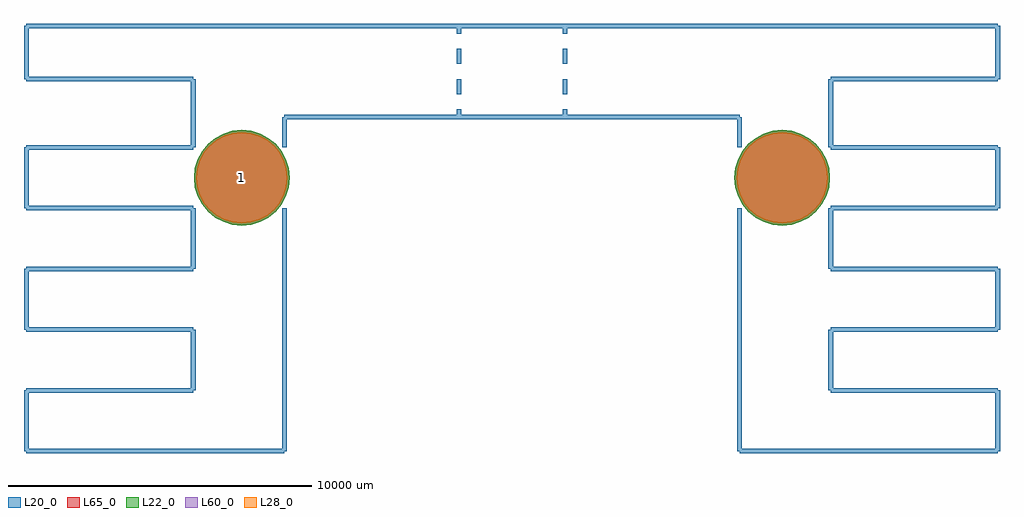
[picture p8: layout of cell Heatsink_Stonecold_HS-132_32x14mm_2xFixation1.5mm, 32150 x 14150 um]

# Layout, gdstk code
import gdstk
lib = gdstk.Library(unit=1e-6, precision=1e-09)
def P(c, l, *ps):  # polygons
    for p in ps: c.add(gdstk.Polygon(p, *l))
L20_0 = (20, 0)
L22_0 = (22, 0)
L28_0 = (28, 0)
L60_0 = (60, 0)
L65_0 = (65, 0)

heatsink_stonecold_hs_13 = lib.new_cell('Heatsink_Stonecold_HS-132_32x14mm_2xFixation1.5mm')
P(heatsink_stonecold_hs_13, L22_0, [(10475,0),(10444.737,307.267),(10355.11,602.726),(10209.565,875.023),(10013.693,1113.693),(9775.023,1309.565),(9502.726,1455.11),(9207.267,1544.737),(8900,1575),(8592.733,1544.737),(8297.274,1455.11),(8024.977,1309.565),(7786.307,1113.693),(7590.435,875.023),(7444.89,602.726),(7355.263,307.267),(7325,0),(7355.263,-307.267),(7444.89,-602.726),(7590.435,-875.023),(7786.307,-1113.693),(8024.977,-1309.565),(8297.274,-1455.11),(8592.733,-1544.737),(8900,-1575),(9207.267,-1544.737),(9502.726,-1455.11),(9775.023,-1309.565),(10013.693,-1113.693),(10209.565,-875.023),(10355.11,-602.726),(10444.737,-307.267)],
  [(-7325,0),(-7355.263,307.267),(-7444.89,602.726),(-7590.435,875.023),(-7786.307,1113.693),(-8024.977,1309.565),(-8297.274,1455.11),(-8592.733,1544.737),(-8900,1575),(-9207.267,1544.737),(-9502.726,1455.11),(-9775.023,1309.565),(-10013.693,1113.693),(-10209.565,875.023),(-10355.11,602.726),(-10444.737,307.267),(-10475,0),(-10444.737,-307.267),(-10355.11,-602.726),(-10209.565,-875.023),(-10013.693,-1113.693),(-9775.023,-1309.565),(-9502.726,-1455.11),(-9207.267,-1544.737),(-8900,-1575),(-8592.733,-1544.737),(-8297.274,-1455.11),(-8024.977,-1309.565),(-7786.307,-1113.693),(-7590.435,-875.023),(-7444.89,-602.726),(-7355.263,-307.267)])
P(heatsink_stonecold_hs_13, L28_0, [(10400,0),(10371.178,292.635),(10285.819,574.025),(10147.204,833.355),(9960.66,1060.66),(9733.355,1247.204),(9474.025,1385.819),(9192.635,1471.178),(8900,1500),(8607.365,1471.178),(8325.975,1385.819),(8066.645,1247.204),(7839.34,1060.66),(7652.796,833.355),(7514.181,574.025),(7428.822,292.635),(7400,0),(7428.822,-292.635),(7514.181,-574.025),(7652.796,-833.355),(7839.34,-1060.66),(8066.645,-1247.204),(8325.975,-1385.819),(8607.365,-1471.178),(8900,-1500),(9192.635,-1471.178),(9474.025,-1385.819),(9733.355,-1247.204),(9960.66,-1060.66),(10147.204,-833.355),(10285.819,-574.025),(10371.178,-292.635)],
  [(-7400,0),(-7428.822,292.635),(-7514.181,574.025),(-7652.796,833.355),(-7839.34,1060.66),(-8066.645,1247.204),(-8325.975,1385.819),(-8607.365,1471.178),(-8900,1500),(-9192.635,1471.178),(-9474.025,1385.819),(-9733.355,1247.204),(-9960.66,1060.66),(-10147.204,833.355),(-10285.819,574.025),(-10371.178,292.635),(-10400,0),(-10371.178,-292.635),(-10285.819,-574.025),(-10147.204,-833.355),(-9960.66,-1060.66),(-9733.355,-1247.204),(-9474.025,-1385.819),(-9192.635,-1471.178),(-8900,-1500),(-8607.365,-1471.178),(-8325.975,-1385.819),(-8066.645,-1247.204),(-7839.34,-1060.66),(-7652.796,-833.355),(-7514.181,-574.025),(-7428.822,-292.635)])
P(heatsink_stonecold_hs_13, L60_0, [(10400,0),(10371.178,292.635),(10285.819,574.025),(10147.204,833.355),(9960.66,1060.66),(9733.355,1247.204),(9474.025,1385.819),(9192.635,1471.178),(8900,1500),(8607.365,1471.178),(8325.975,1385.819),(8066.645,1247.204),(7839.34,1060.66),(7652.796,833.355),(7514.181,574.025),(7428.822,292.635),(7400,0),(7428.822,-292.635),(7514.181,-574.025),(7652.796,-833.355),(7839.34,-1060.66),(8066.645,-1247.204),(8325.975,-1385.819),(8607.365,-1471.178),(8900,-1500),(9192.635,-1471.178),(9474.025,-1385.819),(9733.355,-1247.204),(9960.66,-1060.66),(10147.204,-833.355),(10285.819,-574.025),(10371.178,-292.635)],
  [(-7400,0),(-7428.822,292.635),(-7514.181,574.025),(-7652.796,833.355),(-7839.34,1060.66),(-8066.645,1247.204),(-8325.975,1385.819),(-8607.365,1471.178),(-8900,1500),(-9192.635,1471.178),(-9474.025,1385.819),(-9733.355,1247.204),(-9960.66,1060.66),(-10147.204,833.355),(-10285.819,574.025),(-10371.178,292.635),(-10400,0),(-10371.178,-292.635),(-10285.819,-574.025),(-10147.204,-833.355),(-9960.66,-1060.66),(-9733.355,-1247.204),(-9474.025,-1385.819),(-9192.635,-1471.178),(-8900,-1500),(-8607.365,-1471.178),(-8325.975,-1385.819),(-8066.645,-1247.204),(-7839.34,-1060.66),(-7652.796,-833.355),(-7514.181,-574.025),(-7428.822,-292.635)])
P(heatsink_stonecold_hs_13, L65_0, [(10475,0),(10444.737,307.267),(10355.11,602.726),(10209.565,875.023),(10013.693,1113.693),(9775.023,1309.565),(9502.726,1455.11),(9207.267,1544.737),(8900,1575),(8592.733,1544.737),(8297.274,1455.11),(8024.977,1309.565),(7786.307,1113.693),(7590.435,875.023),(7444.89,602.726),(7355.263,307.267),(7325,0),(7355.263,-307.267),(7444.89,-602.726),(7590.435,-875.023),(7786.307,-1113.693),(8024.977,-1309.565),(8297.274,-1455.11),(8592.733,-1544.737),(8900,-1575),(9207.267,-1544.737),(9502.726,-1455.11),(9775.023,-1309.565),(10013.693,-1113.693),(10209.565,-875.023),(10355.11,-602.726),(10444.737,-307.267)],
  [(-7325,0),(-7355.263,307.267),(-7444.89,602.726),(-7590.435,875.023),(-7786.307,1113.693),(-8024.977,1309.565),(-8297.274,1455.11),(-8592.733,1544.737),(-8900,1575),(-9207.267,1544.737),(-9502.726,1455.11),(-9775.023,1309.565),(-10013.693,1113.693),(-10209.565,875.023),(-10355.11,602.726),(-10444.737,307.267),(-10475,0),(-10444.737,-307.267),(-10355.11,-602.726),(-10209.565,-875.023),(-10013.693,-1113.693),(-9775.023,-1309.565),(-9502.726,-1455.11),(-9207.267,-1544.737),(-8900,-1575),(-8592.733,-1544.737),(-8297.274,-1455.11),(-8024.977,-1309.565),(-7786.307,-1113.693),(-7590.435,-875.023),(-7444.89,-602.726),(-7355.263,-307.267)])
heatsink_stonecold_hs_13.add(gdstk.FlexPath([(-16000,5000),(16000,5000)], 149.998, ends="flush", simple_path=True, layer=20, datatype=0))  # L20_0
heatsink_stonecold_hs_13.add(gdstk.FlexPath([(-7500,2000),(7500,2000)], 149.998, ends="flush", simple_path=True, layer=20, datatype=0))  # L20_0
heatsink_stonecold_hs_13.add(gdstk.FlexPath([(-7500,-9000),(-16000,-9000)], 149.998, ends="flush", simple_path=True, layer=20, datatype=0))  # L20_0
heatsink_stonecold_hs_13.add(gdstk.FlexPath([(7500,-9000),(16000,-9000)], 149.998, ends="flush", simple_path=True, layer=20, datatype=0))  # L20_0
heatsink_stonecold_hs_13.add(gdstk.FlexPath([(7500,2000),(7500,1000)], 149.998, ends="flush", simple_path=True, layer=20, datatype=0))  # L20_0
heatsink_stonecold_hs_13.add(gdstk.FlexPath([(-7500,2000),(-7500,1000)], 149.998, ends="flush", simple_path=True, layer=20, datatype=0))  # L20_0
heatsink_stonecold_hs_13.add(gdstk.FlexPath([(-7500,-1000),(-7500,-9000)], 149.998, ends="flush", simple_path=True, layer=20, datatype=0))  # L20_0
heatsink_stonecold_hs_13.add(gdstk.FlexPath([(7500,-1000),(7500,-9000)], 149.998, ends="flush", simple_path=True, layer=20, datatype=0))  # L20_0
heatsink_stonecold_hs_13.add(gdstk.FlexPath([(-10500,1000),(-16000,1000)], 149.998, ends="flush", simple_path=True, layer=20, datatype=0))  # L20_0
heatsink_stonecold_hs_13.add(gdstk.FlexPath([(-16000,-1000),(-10500,-1000)], 149.998, ends="flush", simple_path=True, layer=20, datatype=0))  # L20_0
heatsink_stonecold_hs_13.add(gdstk.FlexPath([(10500,1000),(16000,1000)], 149.998, ends="flush", simple_path=True, layer=20, datatype=0))  # L20_0
heatsink_stonecold_hs_13.add(gdstk.FlexPath([(10500,-1000),(16000,-1000)], 149.998, ends="flush", simple_path=True, layer=20, datatype=0))  # L20_0
heatsink_stonecold_hs_13.add(gdstk.FlexPath([(10500,3250),(16000,3250)], 149.998, ends="flush", simple_path=True, layer=20, datatype=0))  # L20_0
heatsink_stonecold_hs_13.add(gdstk.FlexPath([(10500,-7000),(16000,-7000)], 149.998, ends="flush", simple_path=True, layer=20, datatype=0))  # L20_0
heatsink_stonecold_hs_13.add(gdstk.FlexPath([(10500,-3000),(16000,-3000)], 149.998, ends="flush", simple_path=True, layer=20, datatype=0))  # L20_0
heatsink_stonecold_hs_13.add(gdstk.FlexPath([(10500,-5000),(16000,-5000)], 149.998, ends="flush", simple_path=True, layer=20, datatype=0))  # L20_0
heatsink_stonecold_hs_13.add(gdstk.FlexPath([(-10500,-7000),(-16000,-7000)], 149.998, ends="flush", simple_path=True, layer=20, datatype=0))  # L20_0
heatsink_stonecold_hs_13.add(gdstk.FlexPath([(-16000,-5000),(-10500,-5000)], 149.998, ends="flush", simple_path=True, layer=20, datatype=0))  # L20_0
heatsink_stonecold_hs_13.add(gdstk.FlexPath([(-10500,-3000),(-16000,-3000)], 149.998, ends="flush", simple_path=True, layer=20, datatype=0))  # L20_0
heatsink_stonecold_hs_13.add(gdstk.FlexPath([(-10500,3250),(-16000,3250)], 149.998, ends="flush", simple_path=True, layer=20, datatype=0))  # L20_0
heatsink_stonecold_hs_13.add(gdstk.FlexPath([(16000,5000),(16000,3250)], 149.998, ends="flush", simple_path=True, layer=20, datatype=0))  # L20_0
heatsink_stonecold_hs_13.add(gdstk.FlexPath([(-16000,3250),(-16000,5000)], 149.998, ends="flush", simple_path=True, layer=20, datatype=0))  # L20_0
heatsink_stonecold_hs_13.add(gdstk.FlexPath([(-10500,3250),(-10500,1000)], 149.998, ends="flush", simple_path=True, layer=20, datatype=0))  # L20_0
heatsink_stonecold_hs_13.add(gdstk.FlexPath([(-10500,-1000),(-10500,-3000)], 149.998, ends="flush", simple_path=True, layer=20, datatype=0))  # L20_0
heatsink_stonecold_hs_13.add(gdstk.FlexPath([(-16000,1000),(-16000,-1000)], 149.998, ends="flush", simple_path=True, layer=20, datatype=0))  # L20_0
heatsink_stonecold_hs_13.add(gdstk.FlexPath([(-16000,-3000),(-16000,-5000)], 149.998, ends="flush", simple_path=True, layer=20, datatype=0))  # L20_0
heatsink_stonecold_hs_13.add(gdstk.FlexPath([(-10500,-5000),(-10500,-7000)], 149.998, ends="flush", simple_path=True, layer=20, datatype=0))  # L20_0
heatsink_stonecold_hs_13.add(gdstk.FlexPath([(-16000,-7000),(-16000,-9000)], 149.998, ends="flush", simple_path=True, layer=20, datatype=0))  # L20_0
heatsink_stonecold_hs_13.add(gdstk.FlexPath([(10500,-5000),(10500,-7000)], 149.998, ends="flush", simple_path=True, layer=20, datatype=0))  # L20_0
heatsink_stonecold_hs_13.add(gdstk.FlexPath([(10500,-1000),(10500,-3000)], 149.998, ends="flush", simple_path=True, layer=20, datatype=0))  # L20_0
heatsink_stonecold_hs_13.add(gdstk.FlexPath([(10500,3250),(10500,1000)], 149.998, ends="flush", simple_path=True, layer=20, datatype=0))  # L20_0
heatsink_stonecold_hs_13.add(gdstk.FlexPath([(16000,1000),(16000,-1000)], 149.998, ends="flush", simple_path=True, layer=20, datatype=0))  # L20_0
heatsink_stonecold_hs_13.add(gdstk.FlexPath([(16000,-3000),(16000,-5000)], 149.998, ends="flush", simple_path=True, layer=20, datatype=0))  # L20_0
heatsink_stonecold_hs_13.add(gdstk.FlexPath([(16000,-7000),(16000,-9000)], 149.998, ends="flush", simple_path=True, layer=20, datatype=0))  # L20_0
heatsink_stonecold_hs_13.add(gdstk.FlexPath([(-1750,4250),(-1750,3750)], 149.998, ends="flush", simple_path=True, layer=20, datatype=0))  # L20_0
heatsink_stonecold_hs_13.add(gdstk.FlexPath([(-1750,3250),(-1750,2750)], 149.998, ends="flush", simple_path=True, layer=20, datatype=0))  # L20_0
heatsink_stonecold_hs_13.add(gdstk.FlexPath([(1750,4250),(1750,3750)], 149.998, ends="flush", simple_path=True, layer=20, datatype=0))  # L20_0
heatsink_stonecold_hs_13.add(gdstk.FlexPath([(1750,3250),(1750,2750)], 149.998, ends="flush", simple_path=True, layer=20, datatype=0))  # L20_0
heatsink_stonecold_hs_13.add(gdstk.FlexPath([(1750,2250),(1750,2000)], 149.998, ends="flush", simple_path=True, layer=20, datatype=0))  # L20_0
heatsink_stonecold_hs_13.add(gdstk.FlexPath([(-1750,2250),(-1750,2000)], 149.998, ends="flush", simple_path=True, layer=20, datatype=0))  # L20_0
heatsink_stonecold_hs_13.add(gdstk.FlexPath([(-1750,4750),(-1750,5000)], 149.998, ends="flush", simple_path=True, layer=20, datatype=0))  # L20_0
heatsink_stonecold_hs_13.add(gdstk.FlexPath([(1750,4750),(1750,5000)], 149.998, ends="flush", simple_path=True, layer=20, datatype=0))  # L20_0
heatsink_stonecold_hs_13.add(gdstk.Label('1', (-8900,0), layer=28, texttype=0))
heatsink_stonecold_hs_13.add(gdstk.Label('type', (0,-10000), layer=9, texttype=0))
heatsink_stonecold_hs_13.add(gdstk.Label('devicename', (0,6000), layer=9, texttype=0))

lib.write_gds('Heatsink_Stonecold_HS-132_32x14mm_2xFixation1.5mm.gds')
